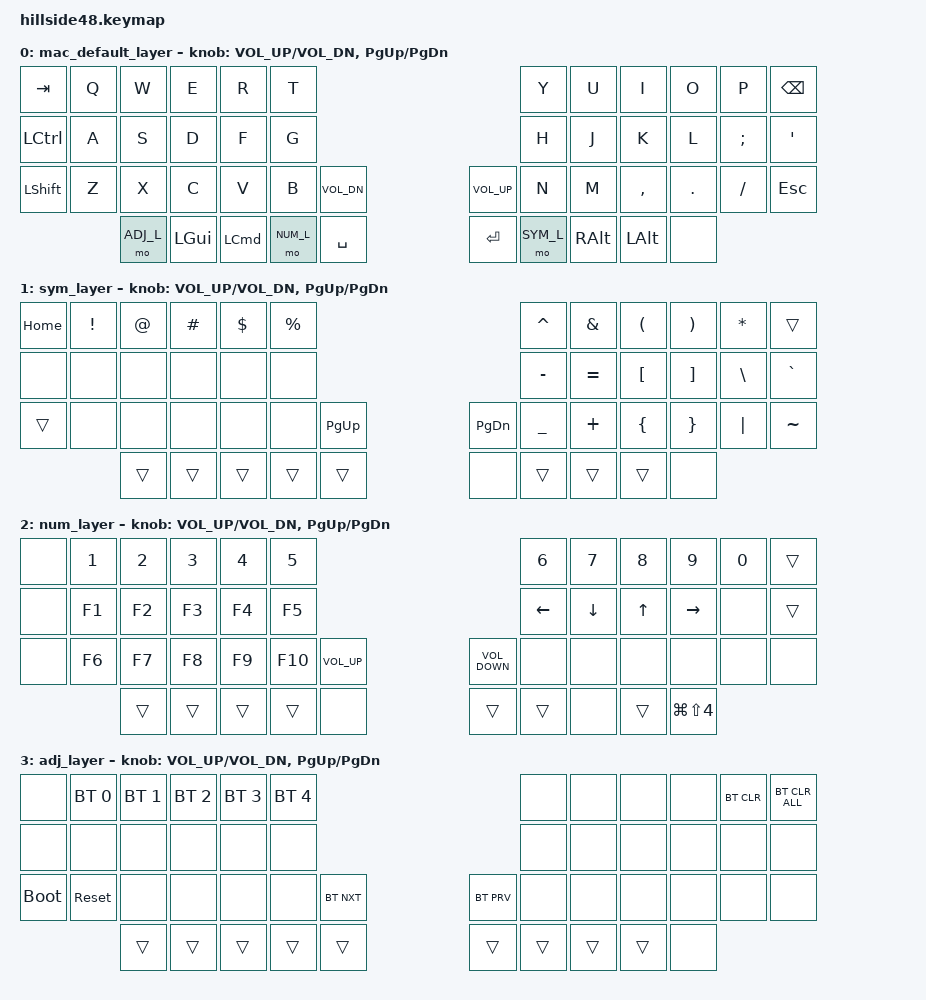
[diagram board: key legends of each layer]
/*
 * Copyright (c) 2022 The ZMK Contributors
 *
 * SPDX-License-Identifier: MIT
 */

#include <behaviors.dtsi>
#include <dt-bindings/zmk/bt.h>
#include <dt-bindings/zmk/keys.h>

#define MAC_L    0
#define SYM_L    1
#define NUM_L    2
#define ADJ_L    3

/ {
    keymap {
        compatible = "zmk,keymap";

        mac_default_layer {
/* MAC_QWERTY
 * -------------------------------------------------------------------------------------------------------------------------------------
 * | TAB   |   Q   |   W   |   E   |   R   |   T   |-----------------------------------|   Y   |   U   |   I   |   O   |   P   | BKSPC |
 * | CTRL  |   A   |   S   |   D   |   F   |   G   |-----------------------------------|   H   |   J   |   K   |   L   |   ;   |   '   |
 * | SHIFT |   Z   |   X   |   C   |   V   |   B   | VOL-  |-------------------| VOL+  |   N   |   M   |   ,   |   .   |   /   |  ESC  |
 * ----------------|  ADJ  |-------|  GUI  |  CMD  |  NUM  | SPACE |---| ENTER |  SYM  |  RALT |  LALT |-------|       |----------------
 */
            bindings = <
&kp TAB           &kp Q  &kp W  &kp E  &kp R         &kp T                                                            &kp Y     &kp U         &kp I      &kp O             &kp P      &kp BSPC
&kp LEFT_CONTROL  &kp A  &kp S  &kp D  &kp F         &kp G                                                            &kp H     &kp J         &kp K      &kp L             &kp SEMI   &kp SINGLE_QUOTE
&kp LSHFT         &kp Z  &kp X  &kp C  &kp V         &kp B     &kp C_VOL_DN                        &kp C_VOL_UP       &kp N     &kp M         &kp COMMA  &kp DOT           &kp SLASH  &kp ESCAPE
                         &mo ADJ_L    &kp LEFT_GUI  &kp LCMD  &mo NUM_L     &kp SPACE  &kp ENTER  &mo SYM_L          &kp RALT  &kp LEFT_ALT             &none
            >;

            sensor-bindings = <&inc_dec_kp C_VOL_UP C_VOL_DN &inc_dec_kp PG_UP PG_DN>;
        };

        sym_layer {
/* SYM
 * -------------------------------------------------------------------------------------------------------------------------------------
 * | HOME  |   !   |   @   |   #   |   $   |   %   |-----------------------------------|   ^   |   &   |   (   |   )   |   *   | BSPC  |
 * |       |       |       |       |       |       |-----------------------------------|   -   |   =   |   [   |   ]   |   \   |   `   |
 * | SHIFT |       |       |       |       |       | PG_UP |-------------------| PG_DN |   _   |   +   |   {   |   }   |   |   |   ~   |
 * ----------------|       |-------|       |       |       |       |---|       |       |       |       |-------|       |----------------
 */
            bindings = <
&kp HOME  &kp EXCL  &kp AT  &kp HASH  &kp DOLLAR  &kp PERCENT                                             &kp CARET  &kp AMPS   &kp LEFT_PARENTHESIS  &kp RIGHT_PARENTHESIS  &kp ASTERISK  &trans
&none     &none     &none   &none     &none       &none                                                   &kp MINUS  &kp EQUAL  &kp LBKT              &kp RBKT               &kp BSLH      &kp GRAVE
&trans    &none     &none   &none     &none       &none        &kp PAGE_UP                 &kp PAGE_DOWN  &kp UNDER  &kp PLUS   &kp LBRC              &kp RBRC               &kp PIPE      &kp TILDE
                    &trans            &trans      &trans       &trans       &trans  &none  &trans         &trans     &trans                           &none
            >;

            sensor-bindings = <&inc_dec_kp C_VOL_UP C_VOL_DN &inc_dec_kp PG_UP PG_DN>;
        };

        num_layer {
/* NUM
 * -------------------------------------------------------------------------------------------------------------------------------------
 * |       |   1   |   2   |   3   |   4   |   5   |-----------------------------------|   6   |   7   |   8   |   9   |   0   | BSPC  |
 * |       |  F1   |  F2   |  F3   |  F4   |  F5   |-----------------------------------|  LEFT | DOWN  |  UP   | RIGHT |       | ENTER |
 * |       |  F6   |  F7   |  F8   |  F9   |  F10  | VOL+  |-------------------| VOL-  |       |       |       |       |       |       |
 * ----------------|       |-------|       |       |       |       |---|       |       |       |       |-------| PRSCR |----------------
 */
            bindings = <
&none  &kp NUMBER_1  &kp NUMBER_2  &kp N3  &kp NUMBER_4  &kp N5                                                      &kp NUMBER_6    &kp N7    &kp N8        &kp N9             &kp N0  &trans
&none  &kp F1        &kp F2        &kp F3  &kp F4        &kp F5                                                      &kp LEFT_ARROW  &kp DOWN  &kp UP_ARROW  &kp RIGHT          &none   &trans
&none  &kp F6        &kp F7        &kp F8  &kp F9        &kp F10  &kp C_VOLUME_UP                 &kp C_VOLUME_DOWN  &none           &none     &none         &none              &none   &none
                     &trans                &trans        &trans   &trans           &none  &trans  &trans             &none           &trans                  &kp LG(LS(N4))
            >;

            sensor-bindings = <&inc_dec_kp C_VOL_UP C_VOL_DN &inc_dec_kp PG_UP PG_DN>;
        };

        adj_layer {
/* ADJUST
 * ----------------------------------------------------------------------------------------------------------------------------------------
 * |       | BT 0  | BT 1  | BT 2  | BT 3  | BT 4  |-----------------------------------|       |       |       |       |BT CLR |BT CLRALL
 * |       |       |       |       |       |       |-----------------------------------|       |       |       |       |       |       |
 * | BOOTL | RESET |       |       |       |       |BT NEXT|-------------------|BT PREV|       |       |       |       |       |       |
 * -------------------|       |-------|       |       |       |       |---|       |       |       |       |-------|       |----------------
 */
            bindings = <
&none        &bt BT_SEL 0  &bt BT_SEL 1  &bt BT_SEL 2  &bt BT_SEL 3  &bt BT_SEL 4                                          &none   &none   &none  &none  &bt BT_CLR  &bt BT_CLR_ALL
&none        &none         &none         &none         &none         &none                                                 &none   &none   &none  &none  &none  &none
&bootloader  &sys_reset    &none         &none         &none         &none         &bt BT_NXT                  &bt BT_PRV  &none   &none   &none  &none  &none  &none
                           &trans                      &trans        &trans        &trans      &trans  &trans  &trans      &trans  &trans         &none
            >;

            sensor-bindings = <&inc_dec_kp C_VOL_UP C_VOL_DN &inc_dec_kp PG_UP PG_DN>;
        };
    };
};
